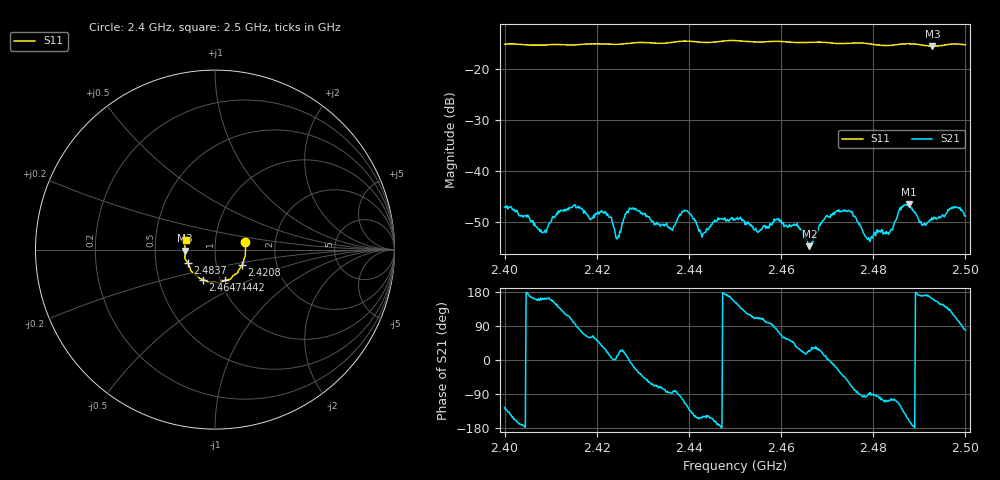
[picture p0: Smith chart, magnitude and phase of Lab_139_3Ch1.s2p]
# Hz S RI R 50
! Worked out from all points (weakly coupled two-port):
!   601 points, 2.4 GHz to 2.5 GHz, reference 50 ohm
!   highest |S21| = -46.59 dB at 2.4877 GHz (marker M1); lowest = -54.8 dB at 2.4662 GHz (marker M2)
!   lowest |S11| = -15.6 dB at 2.4928 GHz (marker M3), VSWR 1.40, Z = 35.8 - j0.372 ohm
!   |S11| at or under -10 dB: start of sweep to end of sweep
!   S12 and S22 are empty: the file has one direction only
!   S11 on the Smith chart (normalised r, x): 2.4 GHz: 1.40, +0.12; 2.4208 GHz: 1.33, -0.24; 2.4442 GHz: 1.05, -0.37; 2.4647 GHz: 0.83, -0.29; 2.4837 GHz: 0.73, -0.11; 2.5 GHz: 0.72, +0.08
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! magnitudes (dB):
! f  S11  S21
! 2.4 GHz  -15.2  -47.1
! 2.4085 GHz  -15.4  -52.1
! 2.4118 GHz  -15.3  -48.2
! 2.4167 GHz  -15.3  -47.5
! 2.4208 GHz  -15.2  -48.2
! 2.4245 GHz  -15.2  -53.4
! 2.4275 GHz  -15.0  -47.6
! 2.4333 GHz  -15.0  -50.5
! 2.4392 GHz  -14.6  -47.9
! 2.4442 GHz  -14.9  -51.6
! 2.45 GHz  -14.5  -49.7
! 2.4647 GHz  -14.9  -52.4
! 2.4662 GHz  -14.9  -54.8
! 2.4667 GHz  -14.8  -54.0
! 2.4723 GHz  -15.1  -48.0
! 2.475 GHz  -15.0  -48.0
! 2.4788 GHz  -15.1  -53.5
! 2.4833 GHz  -15.5  -52.5
! 2.4837 GHz  -15.5  -51.9
! 2.4877 GHz  -15.1  -46.6
! 2.4928 GHz  -15.6  -49.6
! 2.5 GHz  -15.3  -48.9
